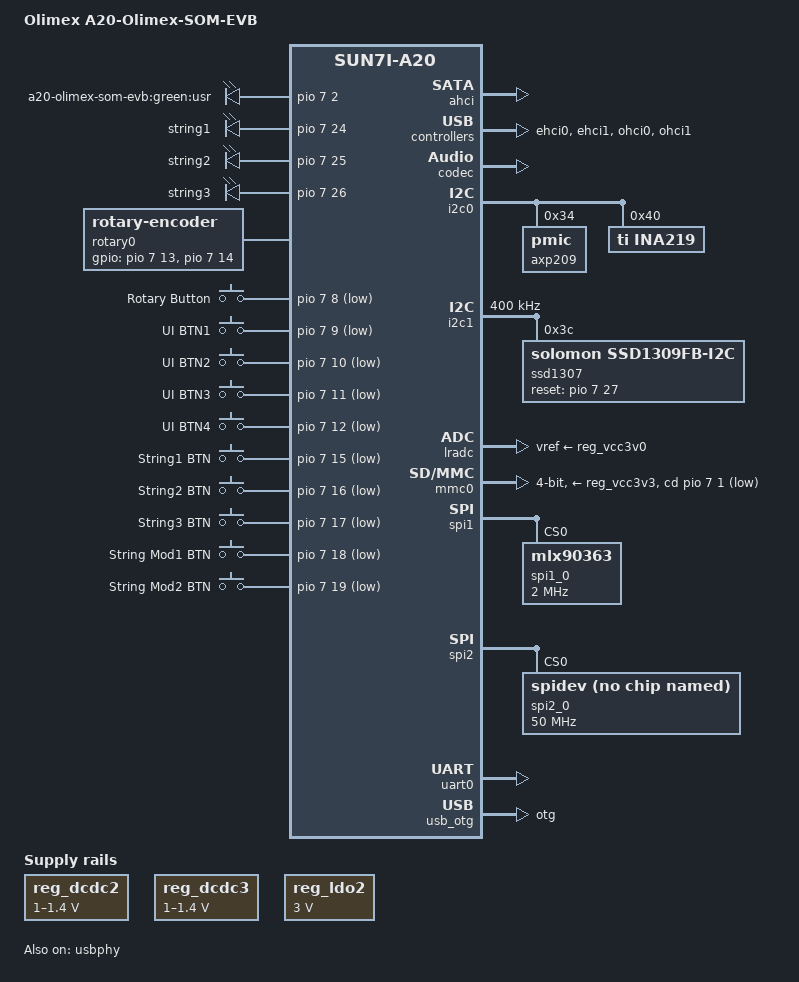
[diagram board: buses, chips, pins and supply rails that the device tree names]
/*
 * Copyright 2015 - Marcus Cooper <codekipper@gmail.com>
 * Copyright 2015 - Karsten Merker <merker@debian.org>
 *
 * This file is dual-licensed: you can use it either under the terms
 * of the GPL or the X11 license, at your option. Note that this dual
 * licensing only applies to this file, and not this project as a
 * whole.
 *
 *  a) This file is free software; you can redistribute it and/or
 *     modify it under the terms of the GNU General Public License as
 *     published by the Free Software Foundation; either version 2 of the
 *     License, or (at your option) any later version.
 *
 *     This file is distributed in the hope that it will be useful,
 *     but WITHOUT ANY WARRANTY; without even the implied warranty of
 *     MERCHANTABILITY or FITNESS FOR A PARTICULAR PURPOSE.  See the
 *     GNU General Public License for more details.
 *
 * Or, alternatively,
 *
 *  b) Permission is hereby granted, free of charge, to any person
 *     obtaining a copy of this software and associated documentation
 *     files (the "Software"), to deal in the Software without
 *     restriction, including without limitation the rights to use,
 *     copy, modify, merge, publish, distribute, sublicense, and/or
 *     sell copies of the Software, and to permit persons to whom the
 *     Software is furnished to do so, subject to the following
 *     conditions:
 *
 *     The above copyright notice and this permission notice shall be
 *     included in all copies or substantial portions of the Software.
 *
 *     THE SOFTWARE IS PROVIDED "AS IS", WITHOUT WARRANTY OF ANY KIND,
 *     EXPRESS OR IMPLIED, INCLUDING BUT NOT LIMITED TO THE WARRANTIES
 *     OF MERCHANTABILITY, FITNESS FOR A PARTICULAR PURPOSE AND
 *     NONINFRINGEMENT. IN NO EVENT SHALL THE AUTHORS OR COPYRIGHT
 *     HOLDERS BE LIABLE FOR ANY CLAIM, DAMAGES OR OTHER LIABILITY,
 *     WHETHER IN AN ACTION OF CONTRACT, TORT OR OTHERWISE, ARISING
 *     FROM, OUT OF OR IN CONNECTION WITH THE SOFTWARE OR THE USE OR
 *     OTHER DEALINGS IN THE SOFTWARE.
 */

/dts-v1/;
#include "sun7i-a20.dtsi"
#include "sunxi-common-regulators.dtsi"

#include <dt-bindings/gpio/gpio.h>
#include <dt-bindings/input/input.h>
#include <dt-bindings/interrupt-controller/irq.h>

/ {
	model = "Olimex A20-Olimex-SOM-EVB";
	compatible = "olimex,a20-olimex-som-evb", "allwinner,sun7i-a20";

	aliases {
		serial0 = &uart0;
		spi0 = &spi1;
		spi1 = &spi2;
	};

	chosen {
		stdout-path = "serial0:115200n8";
	};

	leds {
		compatible = "gpio-leds";
		pinctrl-names = "default";
		pinctrl-0 = <&led_pins_olimex_som_evb>;

		green {
			label = "a20-olimex-som-evb:green:usr";
			gpios = <&pio 7 2 GPIO_ACTIVE_HIGH>; /* PH2 */
			default-state = "on";
			linux,default-trigger = "mmc0";
		};

		string1 {
			label = "string1";
			gpios = <&pio 7 24 GPIO_ACTIVE_HIGH>; /* PH24 */
			linux,default-trigger = "default-on";
		};

		string2 {
			label = "string2";
			gpios = <&pio 7 25 GPIO_ACTIVE_HIGH>; /* PH25 */
			linux,default-trigger = "default-on";
		};

		string3 {
			label = "string3";
			gpios = <&pio 7 26 GPIO_ACTIVE_HIGH>; /* PH26 */
			linux,default-trigger = "default-on";
		};
	};

rotary0: rotary@0 {
		 pinctrl-names = "default";
		 pinctrl-0 = <&rotary_pins_olimex_som_evb>;

		 compatible = "rotary-encoder";
		 gpios = <&pio 7 13 GPIO_ACTIVE_HIGH>, <&pio 7 14 GPIO_ACTIVE_HIGH>; /* PH13, PH14 */
		 linux,axis = <0>; /* REL_X */
		 rotary-encoder,relative-axis;
	 };

	 gpio_keys {
		 compatible = "mgurdy-gpio-keys";
		 #address-cells = <1>;
		 #size-cells = <0>;
		 pinctrl-names = "default";
		 pinctrl-0 = <&gpio_btn_pins_olimex_som_evb>;

		 button0 {
			 label = "Rotary Button";
			 mgurdy,state-code = <100>;
			 mgurdy,short-code = <101>;
			 mgurdy,long-code = <102>;
			 gpios = <&pio 7 8 GPIO_ACTIVE_LOW>; /* PH8 */
		 };

		 button1 {
			 label = "UI BTN1";
			 mgurdy,state-code = <103>;
			 mgurdy,short-code = <104>;
			 mgurdy,long-code = <105>;
			 gpios = <&pio 7 9 GPIO_ACTIVE_LOW>; /* PH9 */
		 };

		 button2 {
			 label = "UI BTN2";
			 mgurdy,state-code = <106>;
			 mgurdy,short-code = <107>;
			 mgurdy,long-code = <108>;
			 gpios = <&pio 7 10 GPIO_ACTIVE_LOW>; /* PH10 */
		 };

		 button3 {
			 label = "UI BTN3";
			 mgurdy,state-code = <109>;
			 mgurdy,short-code = <110>;
			 mgurdy,long-code = <111>;
			 gpios = <&pio 7 11 GPIO_ACTIVE_LOW>; /* PH11 */
		 };

		 button4 {
			 label = "UI BTN4";
			 mgurdy,state-code = <112>;
			 mgurdy,short-code = <113>;
			 mgurdy,long-code = <114>;
			 gpios = <&pio 7 12 GPIO_ACTIVE_LOW>; /* PH12 */
		 };

		 string1 {
			 label = "String1 BTN";
			 mgurdy,state-code = <115>;
			 mgurdy,short-code = <116>;
			 mgurdy,long-code = <117>;
			 gpios = <&pio 7 15 GPIO_ACTIVE_LOW>; /* PH15 */
		 };

		 string2 {
			 label = "String2 BTN";
			 mgurdy,state-code = <118>;
			 mgurdy,short-code = <119>;
			 mgurdy,long-code = <120>;
			 gpios = <&pio 7 16 GPIO_ACTIVE_LOW>; /* PH16 */
		 };

		 string3 {
			 label = "String3 BTN";
			 mgurdy,state-code = <121>;
			 mgurdy,short-code = <122>;
			 mgurdy,long-code = <123>;
			 gpios = <&pio 7 17 GPIO_ACTIVE_LOW>; /* PH17 */
		 };

		 stringmod1 {
			 label = "String Mod1 BTN";
			 mgurdy,state-code = <127>;
			 mgurdy,short-code = <128>;
			 mgurdy,long-code = <129>;
			 gpios = <&pio 7 18 GPIO_ACTIVE_LOW>; /* PH18 */
		 };

		 stringmod2 {
			 label = "String Mod2 BTN";
			 mgurdy,state-code = <124>;
			 mgurdy,short-code = <125>;
			 mgurdy,long-code = <126>;
			 gpios = <&pio 7 19 GPIO_ACTIVE_LOW>; /* PH19 */
		 };
	 };

	 mgurdy_keys@01c25000{
		 compatible = "mgurdy,keyboard";
		 reg = <0x01c25000 0x100>;
		 interrupts = <GIC_SPI 29 IRQ_TYPE_LEVEL_HIGH>;
		 #io-channel-cells = <1>;
		 pinctrl-names = "default";
		 pinctrl-0 = <&mgurdy_keys_pins_olimex_som_evb>;
		 mgurdy,num-keys = <24>;
		 mux-en-gpios = <&pio 3 11 GPIO_ACTIVE_LOW>;    /* PD11 */
		 mux-sel-gpios = <&pio 3 9 GPIO_ACTIVE_HIGH>,  /* PD9 */
			 <&pio 3 23 GPIO_ACTIVE_HIGH>,  /* PD23 */
			 <&pio 3 21 GPIO_ACTIVE_HIGH>;  /* PD21 */
	 };

};

&ahci {
	target-supply = <&reg_ahci_5v>;
	status = "okay";
};

&ehci0 {
	status = "okay";
};

&ehci1 {
	status = "okay";
};

&cpu0 {
	cpu-supply = <&reg_dcdc2>;
};

&codec {
	status = "okay";
};

&i2c0 {
	pinctrl-names = "default";
	pinctrl-0 = <&i2c0_pins_a>;
	status = "okay";

	axp209: pmic@34 {
		reg = <0x34>;
		interrupt-parent = <&nmi_intc>;
		interrupts = <0 IRQ_TYPE_LEVEL_LOW>;
	};

	ina219: ina219@40 {
		compatible = "ti,ina219";
		reg = <0x40>;
		shunt-resistor = <100000>;
	};
};

&i2c1 {
	pinctrl-names = "default";
	pinctrl-0 = <&i2c1_pins_a>;
	clock-frequency = <400000>;
	status = "okay";

	ssd1307: oled@3c {
		 compatible = "solomon,ssd1309fb-i2c";
		 pinctrl-names = "default";
		 pinctrl-0 = <&ssd1309fb_reset_pin>;
		 reg = <0x3c>;
		 reset-gpios = <&pio 7 27 GPIO_ACTIVE_HIGH>; /* PH27 */
		 reset-active-low;
		 solomon,page-offset = <0>;
		 solomon,segment-no-remap;
		 solomon,width = <128>;
		 solomon,height = <32>;
	 };
};

&lradc {
	vref-supply = <&reg_vcc3v0>;
	status = "okay";
};

&mmc0 {
	pinctrl-names = "default";
	pinctrl-0 = <&mmc0_pins_a>;
	vmmc-supply = <&reg_vcc3v3>;
	bus-width = <4>;
	cd-gpios = <&pio 7 1 GPIO_ACTIVE_HIGH>; /* PH1 */
	cd-inverted;
	status = "okay";
};

&ohci0 {
	status = "okay";
};

&ohci1 {
	status = "okay";
};

&otg_sram {
	status = "okay";
};

&pio {
	ahci_pwr_pin_olimex_som_evb: ahci_pwr_pin@1 {
		pins = "PC3";
		function = "gpio_out";
	};

	led_pins_olimex_som_evb: led_pins@0 {
		pins = "PH2", "PH24", "PH25", "PH26";
		function = "gpio_out";
		drive-strength = <20>;
	};

	mgurdy_keys_pins_olimex_som_evb: mgurdy_keys_pins@0 {
		pins = "PD9", "PD11", "PD21", "PD23";
		function = "gpio_out";
	};

	rotary_pins_olimex_som_evb: rotary_pins@0 {
		pins = "PH13", "PH14";
		function = "gpio_in";
	};

	gpio_btn_pins_olimex_som_evb: gpio_btn_pins@0 {
		pins = "PH8", "PH9", "PH10", "PH11", "PH12", "PH15", "PH16", "PH17", "PH18", "PH19";
		function = "gpio_in";
		bias-pull-up;
	};

	usb0_id_detect_pin: usb0_id_detect_pin@0 {
		pins = "PH4";
		function = "gpio_in";
	};

	usb0_vbus_detect_pin: usb0_vbus_detect_pin@0 {
		pins = "PH5";
		function = "gpio_in";
	};

	ssd1309fb_reset_pin: ssd1309fb_reset_pin@0 {
		pins = "PH27";
		function = "gpio_out";
	};
};

&reg_ahci_5v {
	pinctrl-0 = <&ahci_pwr_pin_olimex_som_evb>;
	gpio = <&pio 2 3 GPIO_ACTIVE_HIGH>;
	status = "okay";
};

#include "axp209.dtsi"

&reg_dcdc2 {
	regulator-always-on;
	regulator-min-microvolt = <1000000>;
	regulator-max-microvolt = <1400000>;
	regulator-name = "vdd-cpu";
};

&reg_dcdc3 {
	regulator-always-on;
	regulator-min-microvolt = <1000000>;
	regulator-max-microvolt = <1400000>;
	regulator-name = "vdd-int-dll";
};

&reg_ldo1 {
	regulator-name = "vdd-rtc";
};

&reg_ldo2 {
	regulator-always-on;
	regulator-min-microvolt = <3000000>;
	regulator-max-microvolt = <3000000>;
	regulator-name = "avcc";
};

&reg_usb0_vbus {
	status = "okay";
};

&reg_usb1_vbus {
	status = "okay";
};

&reg_usb2_vbus {
	status = "okay";
};

&spi1 {
	pinctrl-names = "default";
	pinctrl-0 = <&spi1_pins_a>,
		    <&spi1_cs0_pins_a>;
	status = "okay";

	spi1_0 {
		#address-cells = <1>;
		#size-cells = <0>;
		compatible = "mlx90363";
		reg = <0>;
		spi-max-frequency = <2000000>;
	};
};

&spi2 {
	pinctrl-names = "default";
	pinctrl-0 = <&spi2_pins_a>,
		    <&spi2_cs0_pins_a>;
	status = "okay";

	spi2_0 {
		#address-cells = <1>;
		#size-cells = <0>;
		compatible = "midigurdy,spidev";
		reg = <0>;
		spi-max-frequency = <50000000>;
	};
};

&uart0 {
	pinctrl-names = "default";
	pinctrl-0 = <&uart0_pins_a>;
	status = "okay";
};

&usb_otg {
	dr_mode = "otg";
	status = "okay";
};

&usbphy {
	pinctrl-names = "default";
	pinctrl-0 = <&usb0_id_detect_pin>, <&usb0_vbus_detect_pin>;
	usb0_id_det-gpios = <&pio 7 4 GPIO_ACTIVE_HIGH>; /* PH04 */
	usb0_vbus_det-gpios = <&pio 7 5 GPIO_ACTIVE_HIGH>; /* PH05 */
	usb0_vbus-supply = <&reg_usb0_vbus>;
	usb1_vbus-supply = <&reg_usb1_vbus>;
	usb2_vbus-supply = <&reg_usb2_vbus>;
	status = "okay";
};

&usb_power_supply {
	status = "okay";
};

&ac_power_supply {
	status = "okay";
};

&battery_power_supply {
	status = "okay";
};
